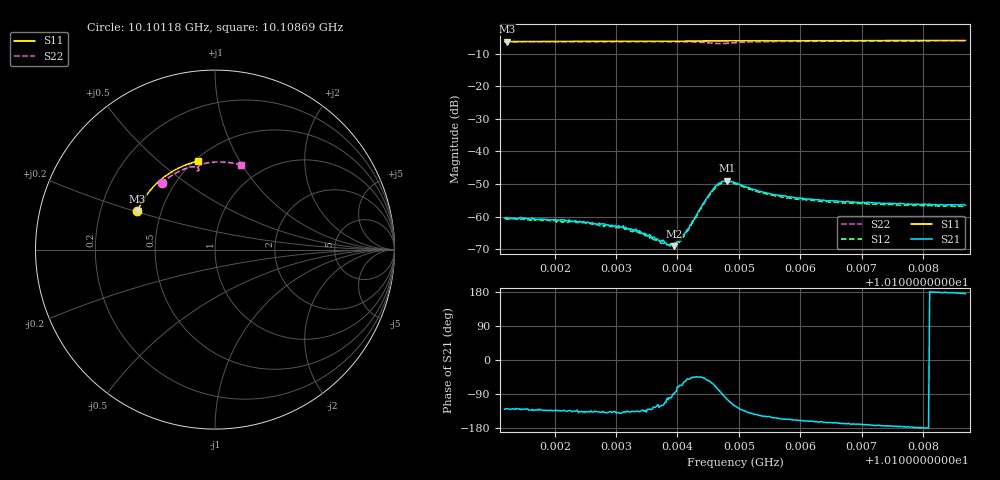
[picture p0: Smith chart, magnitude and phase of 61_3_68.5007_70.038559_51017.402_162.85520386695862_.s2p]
#  HZ  S  RI  R  50.00
! Rohde & Schwarz Vector Network Analyzer
! Rohde-Schwarz,ZNB20-2Port,1311601062101988,3.16
! Created: UTC 3/20/2024, 5:06:24 PM
! freq[Hz]  re:S11  im:S11  re:S21  im:S21  re:S12  im:S12  re:S22  im:S22
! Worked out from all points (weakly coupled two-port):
!   401 points, 10.10118 GHz to 10.10869 GHz, reference 50 ohm
!   highest |S21| = -48.97 dB at 10.10481 GHz (marker M1); lowest = -69.0 dB at 10.10394 GHz (marker M2)
!   lowest |S11| = -6.3 dB at 10.10122 GHz (marker M3), VSWR 2.86, Z = 18.3 + j10.3 ohm
!   |S11| at or under -10 dB: nowhere
!   |S22| runs from -7.0 to -6.1 dB; largest |S21 - S12| = 0.00038
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1.0101182e10  -0.4327 0.2134  -0.000606 -0.000736  -0.000517 -0.000768  -0.2974 0.3702
1.010122e10  -0.4315 0.2155  -0.0006 -0.00076  -0.000502 -0.000771  -0.2954 0.3716
1.010244e10  -0.3969 0.2811  -0.000595 -0.000581  -0.000543 -0.000611  -0.2316 0.4185
1.0103079e10  -0.3748 0.3129  -0.000531 -0.000445  -0.000462 -0.000492  -0.1944 0.4388
1.010336e10  -0.3642 0.3264  -0.000418 -0.000406  -0.00036 -0.000447  -0.177 0.4467
1.0103548e10  -0.3569 0.3352  -0.000333 -0.000413  -0.000283 -0.000376  -0.1648 0.4514
1.0103698e10  -0.3509 0.3421  -0.000248 -0.000356  -0.000198 -0.00038  -0.1548 0.4549
1.0103773e10  -0.3477 0.3455  -0.00021 -0.000385  -0.000117 -0.000371  -0.1494 0.4565
1.0103849e10  -0.3448 0.3488  -9.65e-05 -0.000364  -6.43e-05 -0.000368  -0.1441 0.458
1.0103942e10  -0.3409 0.3529  6.1e-06 -0.000354  5.22e-05 -0.000378  -0.1374 0.4596
1.0104018e10  -0.3377 0.3562  0.000134 -0.000403  0.00013 -0.000367  -0.1317 0.4607
1.010413e10  -0.333 0.3611  0.000316 -0.000476  0.000358 -0.000424  -0.1227 0.4616
1.0104431e10  -0.3197 0.3738  0.00112 -0.0012  0.00115 -0.0011  -0.0973 0.457
1.01046e10  -0.3122 0.3807  0.0011 -0.00254  0.00124 -0.00235  -0.0896 0.4447
1.0104693e10  -0.3081 0.3843  0.000402 -0.00328  0.000647 -0.00311  -0.0932 0.4392
1.0104806e10  -0.3029 0.3887  -0.00082 -0.00346  -0.000458 -0.00337  -0.1002 0.4414
1.0104938e10  -0.2968 0.3939  -0.00171 -0.00283  -0.00146 -0.00287  -0.1011 0.452
1.0105482e10  -0.2707 0.4142  -0.00196 -0.00119  -0.0018 -0.00127  -0.0661 0.4773
1.0105895e10  -0.25 0.4282  -0.00182 -0.000743  -0.00167 -0.000872  -0.0373 0.4841
1.0106196e10  -0.2346 0.4377  -0.00176 -0.000582  -0.00163 -0.000681  -0.0171 0.4867
1.0107454e10  -0.166 0.4707  -0.00161 -0.00018  -0.00149 -0.000309  0.0653 0.4865
1.0108693e10  -0.0944 0.4925  -0.00149 0.000135  -0.00145 -5.32e-05  0.1435 0.4722
